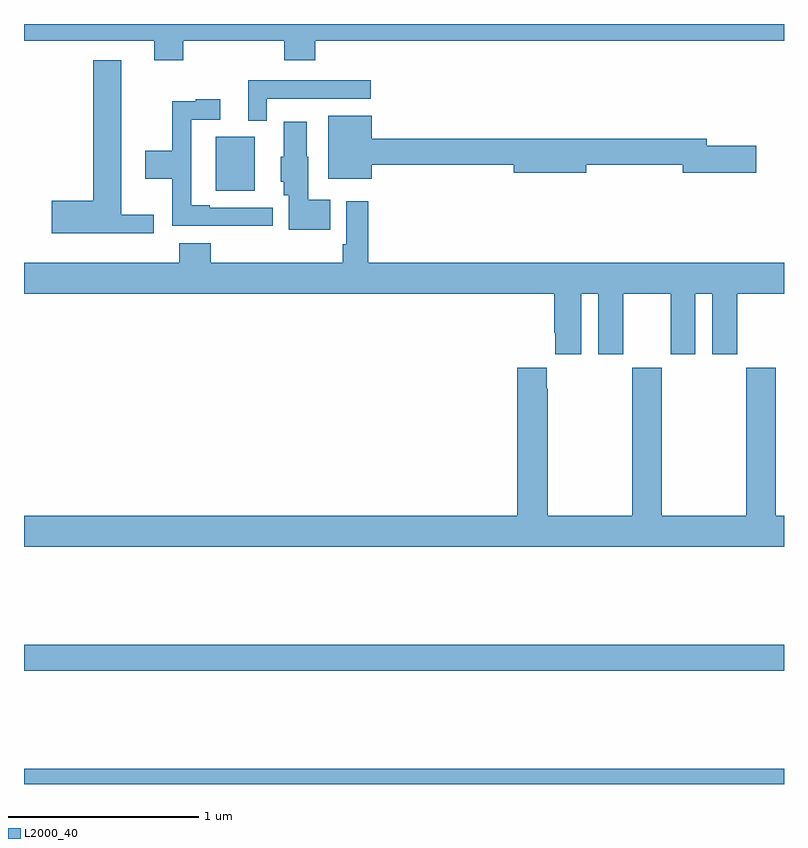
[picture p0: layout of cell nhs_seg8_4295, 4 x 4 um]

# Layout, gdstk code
import gdstk
lib = gdstk.Library(unit=1e-6, precision=1e-09)
def R(c, l, rs):  # rectangles x0, y0, x1, y1
    for r in rs: c.add(gdstk.rectangle(r[:2], r[2:], *l))
def P(c, l, *ps):  # polygons
    for p in ps: c.add(gdstk.Polygon(p, *l))
L2000_40 = (2000, 40)

nhs_seg8_4295 = lib.new_cell('nhs_seg8_4295')
R(nhs_seg8_4295, L2000_40, [(373,1133.9,377,1133.98), (373,1134.496,377,1134.632), (374.009,1137.023,374.215,1137.307)])
P(nhs_seg8_4295, L2000_40, [(373.838,1137.812),(374.369,1137.812),(374.369,1137.71),(374.534,1137.71),(374.534,1137.812),(377,1137.812),(377,1137.9),(373,1137.9),(373,1137.812),(373.685,1137.812),(373.685,1137.71),(373.838,1137.71)],
  [(373.684,1136.897),(373.513,1136.897),(373.513,1137.709),(373.364,1137.709),(373.364,1136.969),(373.146,1136.969),(373.146,1136.798),(373.684,1136.798)],
  [(374.277,1137.507),(374.824,1137.507),(374.824,1137.603),(374.18,1137.603),(374.18,1137.392),(374.277,1137.392)],
  [(374.308,1136.934),(373.978,1136.934),(373.978,1136.947),(373.881,1136.947),(373.881,1137.396),(374.032,1137.396),(374.032,1137.505),(373.904,1137.505),(373.904,1137.494),(373.78,1137.494),(373.78,1137.234),(373.638,1137.234),(373.638,1137.086),(373.78,1137.086),(373.78,1136.838),(374.065,1136.838),(374.065,1136.837),(374.308,1136.837)],
  [(374.83,1137.16),(375.578,1137.16),(375.578,1137.118),(375.958,1137.118),(375.958,1137.16),(376.466,1137.16),(376.466,1137.118),(376.855,1137.118),(376.855,1137.26),(376.594,1137.26),(376.594,1137.296),(374.83,1137.296),(374.83,1137.418),(374.6,1137.418),(374.6,1137.086),(374.83,1137.086)],
  [(374.612,1136.974),(374.497,1136.974),(374.497,1137.201),(374.488,1137.201),(374.488,1137.385),(374.366,1137.385),(374.366,1137.201),(374.351,1137.201),(374.351,1137.069),(374.366,1137.069),(374.366,1137),(374.393,1137),(374.393,1136.816),(374.612,1136.816)],
  [(375.934,1136.48),(376.022,1136.48),(376.022,1136.163),(376.153,1136.163),(376.153,1136.48),(376.403,1136.48),(376.403,1136.163),(376.534,1136.163),(376.534,1136.48),(376.622,1136.48),(376.622,1136.163),(376.753,1136.163),(376.753,1136.48),(377,1136.48),(377,1136.644),(374.813,1136.644),(374.813,1136.968),(374.697,1136.968),(374.697,1136.74),(374.677,1136.74),(374.677,1136.644),(373.982,1136.644),(373.982,1136.746),(373.817,1136.746),(373.817,1136.644),(373,1136.644),(373,1136.48),(375.791,1136.48),(375.791,1136.275),(375.797,1136.275),(375.797,1136.163),(375.934,1136.163)],
  [(377,1135.312),(376.956,1135.312),(376.956,1136.092),(376.801,1136.092),(376.801,1135.312),(376.356,1135.312),(376.356,1136.092),(376.201,1136.092),(376.201,1135.312),(375.756,1135.312),(375.756,1135.979),(375.751,1135.979),(375.751,1136.092),(375.596,1136.092),(375.596,1135.312),(373,1135.312),(373,1135.148),(377,1135.148)])

lib.write_gds('nhs_seg8_4295.gds')
